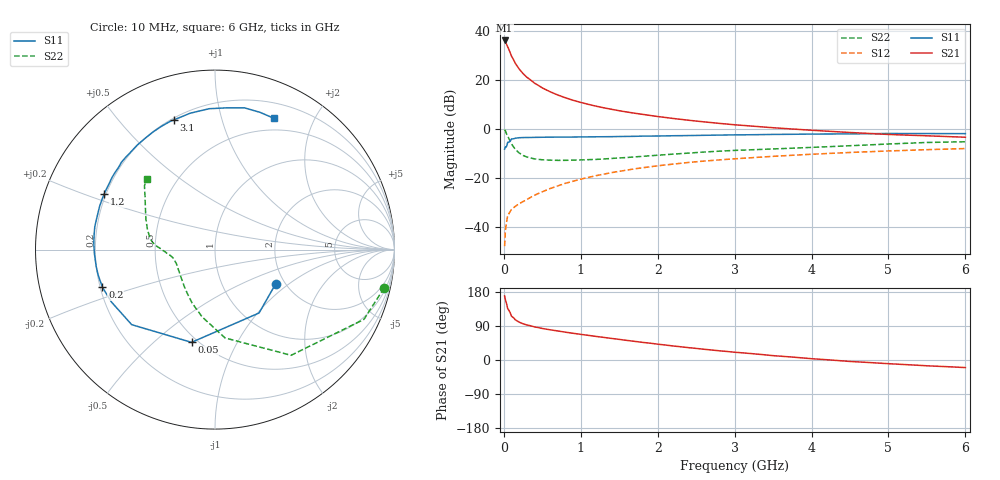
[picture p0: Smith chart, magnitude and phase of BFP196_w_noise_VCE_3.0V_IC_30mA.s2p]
! Infineon Technologies  Discrete & RF Semiconductors
! BFP196
! VCE =  3.0 V,  IC =  30 mA
! Common Emitter S-Parameters:  Jan 2017
# GHz  S  MA  R  50
!  f  S11  S21  S12  S22
! GHz  MAG  ANG  MAG  ANG  MAG  ANG  MAG  ANG
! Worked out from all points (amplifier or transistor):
!   77 points, 10 MHz to 6 GHz, reference 50 ohm
!   highest |S21| = 36.0 dB at 10 MHz (marker M1)
!   |S21| within 3 dB of that: start of sweep to 55.95 MHz
!   unconditionally stable (mu >= 1): 653.4 MHz to 2.484 GHz
!   at 130 MHz: K = 0.50, MSG = 30.0 dB, |S12| = -32.0 dB
!   at 2.2 GHz: K = 1.01, MAG = 8.6 dB, |S12| = -14.3 dB
!   at 6 GHz: K = 0.95, MSG = 2.3 dB, |S12| = -8.0 dB
!   lowest NFmin = 1.22 dB at 450 MHz
!   S11 on the Smith chart (normalised r, x): 10 MHz: 1.79, -0.81; 50 MHz: 0.46, -0.67; 200 MHz: 0.21, -0.16; 1.2 GHz: 0.19, +0.23; 3.1 GHz: 0.21, +0.71; 6 GHz: 0.36, +1.48
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0.01  0.3883 -29.6  63.19 169.0  0.0041 81.3  0.9661 -12.8
0.02  0.4301 -55.2  60.86 159.0  0.0083 76.3  0.9164 -25.1
0.05  0.5331 -104.2  46.94 135.5  0.017 57.7  0.7254 -54.3
0.1  0.6248 -138.0  30.29 115.6  0.0229 48.6  0.4953 -83.5
0.15  0.6469 -153.3  21.5 105.9  0.0266 48.0  0.3813 -100.9
0.2  0.6615 -161.6  16.55 99.8  0.03 49.8  0.3234 -113.3
0.25  0.6663 -167.8  13.38 95.5  0.0332 51.2  0.2886 -122.3
0.3  0.6685 -171.9  11.23 92.4  0.0366 54.1  0.2675 -129.8
0.4  0.6725 -178.3  8.515 87.3  0.0447 57.1  0.2453 -140.1
0.5  0.6765 176.7  6.83 83.2  0.0525 59.5  0.2354 -147.6
0.6  0.6788 172.6  5.721 79.7  0.061 60.6  0.2314 -153.2
0.7  0.6818 169.2  4.909 76.7  0.069 62.0  0.2288 -157.3
0.9  0.6832 162.5  3.828 70.5  0.0861 61.7  0.2314 -163.1
1.1  0.6885 156.5  3.158 65.0  0.1033 60.8  0.2366 -167.4
1.2  0.6913 153.4  2.901 62.2  0.1118 60.2  0.2394 -169.2
1.6  0.7034 142.4  2.207 51.7  0.1452 56.3  0.2616 -174.7
2.1  0.7208 129.2  1.709 39.5  0.1846 50.2  0.2987 179.7
2.6  0.7409 117.7  1.392 28.4  0.2213 43.7  0.3383 175.0
3.1  0.758 107.6  1.181 18.9  0.2521 37.3  0.37 169.1
4.1  0.7861 90.8  0.919 2.1  0.3099 25.4  0.4266 154.6
5.1  0.8055 77.0  0.761 -10.8  0.3599 13.9  0.5 141.4
6  0.8017 66.0  0.677 -20.0  0.3984 3.9  0.5475 134.1
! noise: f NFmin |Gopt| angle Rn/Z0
0.45  1.22  0.34  169  0.05
0.9  1.38  0.45  -172  0.06
1.9  2.24  0.68  -135  0.25
2.4  2.64  0.71  -121  0.6
